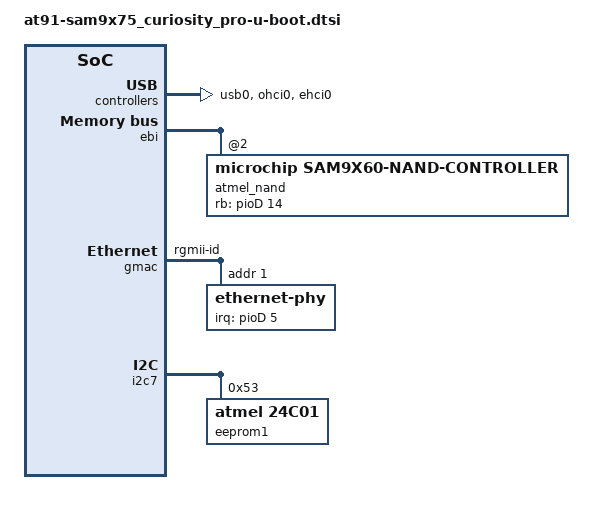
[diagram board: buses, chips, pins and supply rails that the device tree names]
// SPDX-License-Identifier: (GPL-2.0+ OR MIT)
/*
 * at91-sam9x75_curiosity_pro-u-boot.dts - Device Tree file for SAM9X75
 * CURIOSITY PRO board.
 *
 * Copyright (C) 2026 Microchip Technology Inc. and its subsidiaries
 *
 * Author: Ryan Wanner <ryan.wanner@microchip.com>
 */

/ {
	ahb {
		bootph-all;

		usb0: gadget@500000 {
			compatible = "microchip,sam9x60-udc";
			reg = <0x500000 0x100000>,
			      <0xf803c000 0x400>;
			#address-cells = <1>;
			#size-cells = <0>;
			interrupts = <23 IRQ_TYPE_LEVEL_HIGH 2>;
			clocks = <&pmc PMC_TYPE_PERIPHERAL 23>, <&pmc PMC_TYPE_CORE 2>;
			clock-names = "pclk", "hclk";
			assigned-clocks = <&pmc PMC_TYPE_CORE 2>;
			assigned-clock-rates = <480000000>;
			atmel,vbus-gpio = <&pioC 8 GPIO_ACTIVE_HIGH>;
			pinctrl-names = "default";
			pinctrl-0 = <&pinctrl_usba_vbus>;
		};

		ohci0: usb@600000 {
			compatible = "atmel,at91rm9200-ohci", "usb-ohci";
			reg = <0x600000 0x100000>;
			interrupts = <22 IRQ_TYPE_LEVEL_HIGH 2>;
			clocks = <&pmc PMC_TYPE_PERIPHERAL 22>, <&pmc PMC_TYPE_PERIPHERAL 22>, <&pmc PMC_TYPE_SYSTEM 27>;
			clock-names = "ohci_clk", "hclk", "uhpck";
			num-ports = <3>;
			atmel,vbus-gpio = <0
			&pioC 27 GPIO_ACTIVE_HIGH
			&pioC 31 GPIO_ACTIVE_HIGH>;
			pinctrl-names = "default";
			pinctrl-0 = <&pinctrl_usb_default>;
		};

		ehci0: usb@700000 {
			compatible = "atmel,at91sam9g45-ehci", "usb-ehci";
			reg = <0x700000 0x100000>;
			interrupts = <22 IRQ_TYPE_LEVEL_HIGH 2>;
			clocks = <&pmc PMC_TYPE_CORE 8>, <&pmc PMC_TYPE_PERIPHERAL 22>;
			clock-names = "usb_clk", "ehci_clk";
			assigned-clocks = <&pmc PMC_TYPE_CORE 8>;
			assigned-clock-rates = <480000000>;
		};

		ebi: ebi@10000000 {
			compatible = "microchip,sam9x60-ebi";
			#address-cells = <2>;
			#size-cells = <1>;
			atmel,smc = <&smc>;
			microchip,sfr = <&sfr>;
			reg = <0x10000000 0x60000000>;
			ranges = <0x0 0x0 0x10000000 0x10000000
			0x1 0x0 0x20000000 0x10000000
			0x2 0x0 0x30000000 0x10000000>;
			clocks = <&pmc PMC_TYPE_CORE 17>;
			pinctrl-names = "default";
			pinctrl-0 = <&pinctrl_ebi_addr_nand &pinctrl_ebi_data_0_7>;

			nand_controller: nand-controller {
				compatible = "microchip,sam9x60-nand-controller";
				ecc-engine = <&pmecc>;
				#address-cells = <2>;
				#size-cells = <1>;
				ranges;
				reg = <0x2 0x0 0x800000>;
				rb-gpios = <&pioD 14 GPIO_ACTIVE_HIGH>;
				cs-gpios = <&pioD 4 GPIO_ACTIVE_HIGH>;
				nand-bus-width = <8>;
				nand-ecc-mode = "hw";
				nand-ecc-strength = <8>;
				nand-ecc-step-size = <512>;
				nand-on-flash-bbt;
				label = "atmel_nand";
			};
		};
	};

	apb {
		bootph-all;

		sfr: sfr@f8050000 {
			compatible = "microchip,sam9x60-sfr", "syscon";
			reg = <0xf8050000 0x100>;
		};

		pinctrl {
			bootph-all;
		};
	};

	chosen {
		bootph-all;
	};
};

&clk32k {
	bootph-all;
};

&dbgu {
	bootph-all;
};

&gmac {
	phy-mode = "rgmii-id";
	#address-cells = <1>;
	#size-cells = <0>;
	pinctrl-names = "default";
	pinctrl-0 = <&pinctrl_gmac_rgmii_default &pinctrl_gmac_irq_defualt>;
	magic-packet;
	status = "okay";

	ethernet-phy@1 {
		reg = <0x1>;
		interrupt-parent = <&pioD>;
		interrupts = <5 IRQ_TYPE_LEVEL_LOW>;
	};
};

&i2c7 {
	#address-cells = <1>;
	#size-cells = <0>;
	eeprom1: eeprom@53 {
		compatible = "atmel,24c01";
		reg = <0x53>;
		pagesize = <8>;
		status = "okay";
	};
};

&main_xtal {
	bootph-all;
};

&pinctrl_dbgu_default {
	bootph-all;
};

&pinctrl_sdmmc0_default {
	bootph-all;
};

&pioA {
	bootph-all;
};

&pioB {
	bootph-all;

	pinctrl_gmac_rgmii_default: gmac-rgmii-default {
			atmel,pins =
				<AT91_PIOB 13 AT91_PERIPH_A  AT91_PINCTRL_SLEWRATE_DIS>,                          /* ETH_TX0   */
				<AT91_PIOB 14 AT91_PERIPH_A  AT91_PINCTRL_SLEWRATE_DIS>,                          /* ETH_TX1   */
				<AT91_PIOB 4  AT91_PERIPH_A  AT91_PINCTRL_SLEWRATE_DIS>,                          /* ETH_TX2   */
				<AT91_PIOB 5  AT91_PERIPH_A  AT91_PINCTRL_SLEWRATE_DIS>,                          /* ETH_TX3   */
				<AT91_PIOB 7  AT91_PERIPH_A  AT91_PINCTRL_SLEWRATE_DIS>,                          /* ETH_TXCTL  */
				<AT91_PIOB 6  AT91_PERIPH_A (AT91_PINCTRL_PULL_UP | AT91_PINCTRL_SLEWRATE_DIS)>,  /* ETH_TXCK  */

				<AT91_PIOB 11 AT91_PERIPH_A  AT91_PINCTRL_SLEWRATE_DIS>,                          /* ETH_RX0   */
				<AT91_PIOB 12 AT91_PERIPH_A  AT91_PINCTRL_SLEWRATE_DIS>,                          /* ETH_RX1   */
				<AT91_PIOB 0  AT91_PERIPH_A  AT91_PINCTRL_SLEWRATE_DIS>,                          /* ETH_RX2   */
				<AT91_PIOB 1  AT91_PERIPH_A  AT91_PINCTRL_SLEWRATE_DIS>,                          /* ETH_RX3   */
				<AT91_PIOB 8  AT91_PERIPH_A  AT91_PINCTRL_SLEWRATE_DIS>,                          /* ETH_RXCK   */
				<AT91_PIOB 3  AT91_PERIPH_A  AT91_PINCTRL_SLEWRATE_DIS>,                          /* ETH_RXCTL */

				<AT91_PIOB 10 AT91_PERIPH_A  AT91_PINCTRL_NONE>,                                  /* ETH_MDC   */
				<AT91_PIOB 9  AT91_PERIPH_A  AT91_PINCTRL_NONE>,                                  /* ETH_MDIO  */

				<AT91_PIOB 2  AT91_PERIPH_A  AT91_PINCTRL_SLEWRATE_DIS>;                        /* ETH_125CK */
		};
};

&pioC {
	bootph-all;

	pinctrl_usb_default: usb-default {
		atmel,pins = <AT91_PIOC 27 AT91_PERIPH_GPIO AT91_PINCTRL_NONE>,
			<AT91_PIOC 31 AT91_PERIPH_GPIO AT91_PINCTRL_NONE>;
	};

	pinctrl_usba_vbus: usba-vbus {
		atmel,pins = <AT91_PIOC 8 AT91_PERIPH_GPIO AT91_PINCTRL_NONE>;
	};
};

&pioD {
	pinctrl_nand_oe_we: nand-oe-we-0 {
		atmel,pins =
			<AT91_PIOD 0 AT91_PERIPH_A (AT91_PINCTRL_NONE | AT91_PINCTRL_SLEWRATE_DIS)>,
				<AT91_PIOD 1 AT91_PERIPH_A (AT91_PINCTRL_NONE | AT91_PINCTRL_SLEWRATE_DIS)>;
	};

	pinctrl_nand_rb: nand-rb-0 {
		atmel,pins =
			<AT91_PIOD 14 AT91_PERIPH_GPIO AT91_PINCTRL_PULL_UP>;
	};

	pinctrl_nand_cs: nand-cs-0 {
		atmel,pins =
			<AT91_PIOD 4 AT91_PERIPH_GPIO AT91_PINCTRL_PULL_UP>;
	};

	pinctrl_gmac_irq_defualt: gmac-irq-default {
		atmel,pins = <AT91_PIOD 5  AT91_PERIPH_GPIO  AT91_PINCTRL_NONE>;                        /* ETH_INT   */
	};
};

&pit64b0 {
	bootph-all;
};

&pmc {
	bootph-all;
};

&sdmmc0 {
	bootph-all;
};

&slow_xtal {
	bootph-all;
};
